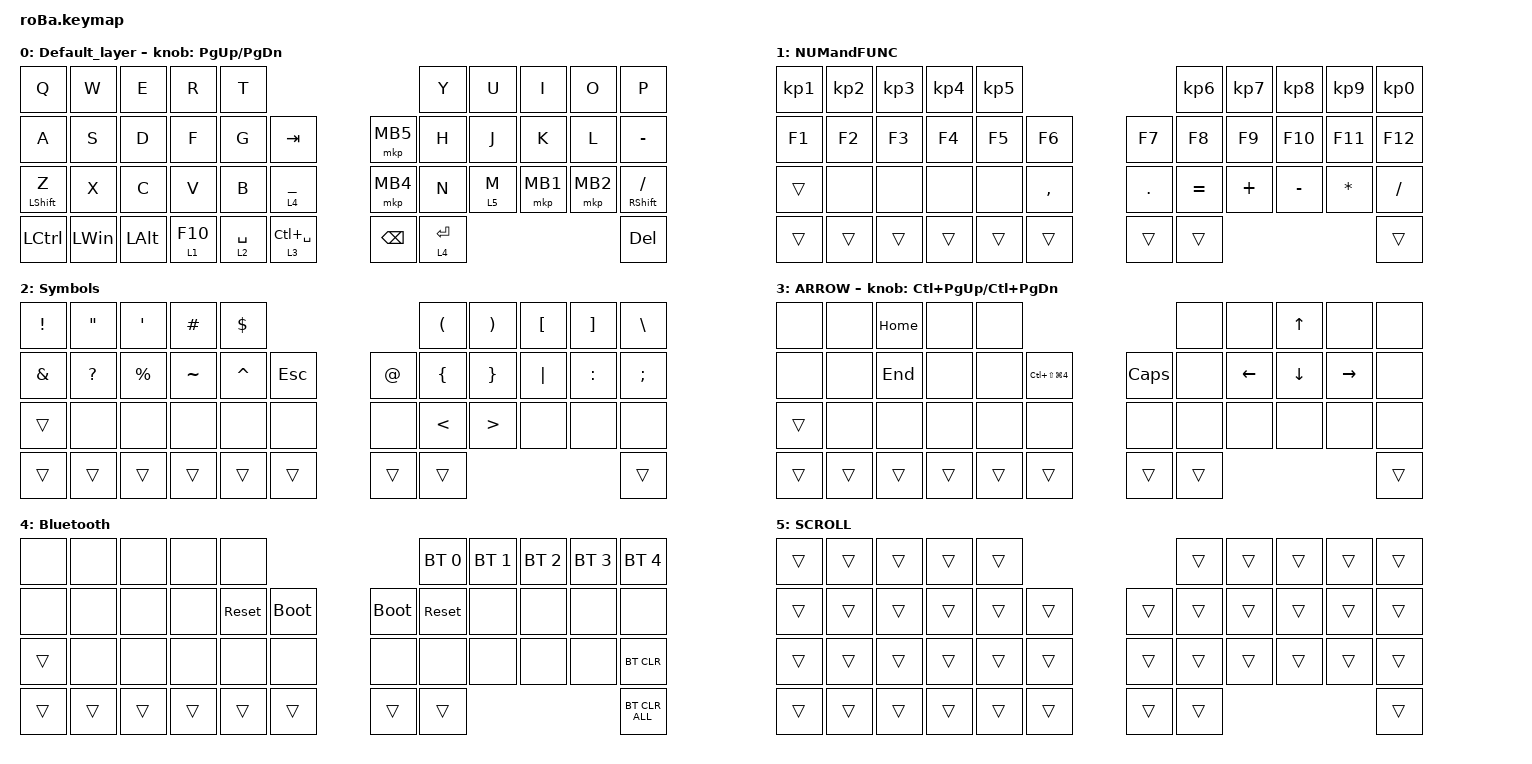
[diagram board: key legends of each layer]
#include <behaviors.dtsi>
#include <dt-bindings/zmk/bt.h>
#include <dt-bindings/zmk/keys.h>
#include <dt-bindings/zmk/pointing.h>

&mt {
    flavor = "balanced";
    quick-tap-ms = <0>;
};

/ {
    combos {
        compatible = "zmk,combos";

        tab {
            bindings = <&kp TAB>;
            key-positions = <11 12>;
        };

        shift_tab {
            bindings = <&kp LS(TAB)>;
            key-positions = <12 13>;
        };

        muhennkann {
            bindings = <&to_layer_0 INT_MUHENKAN>;
            key-positions = <11 10>;
        };

        double_quotation {
            bindings = <&kp DOUBLE_QUOTES>;
            key-positions = <20 21>;
        };

        eq {
            bindings = <&kp EQUAL>;
            key-positions = <24 25>;
        };
    };

    macros {
        to_layer_0: to_layer_0 {
            compatible = "zmk,behavior-macro-one-param";
            #binding-cells = <1>;
            bindings = <&to 0 &macro_param_1to1 &kp MACRO_PLACEHOLDER>;
            label = "TO_LAYER_0";
        };
    };

    behaviors {
        lt_to_layer_0: lt_to_layer_0 {
            compatible = "zmk,behavior-hold-tap";
            label = "LAYER_TAP_TO_0";
            bindings = <&mo>, <&to_layer_0>;

            #binding-cells = <2>;
            tapping-term-ms = <200>;
        };
    };

    keymap {
        compatible = "zmk,keymap";

        Default_layer {
            bindings = <
&kp Q         &kp W         &kp E         &kp R                 &kp T                                                       &kp Y        &kp U    &kp I     &kp O     &kp P
&kp A         &kp S         &kp D         &kp F                 &kp G        &kp TAB                         &mkp MB5       &kp H        &kp J    &kp K     &kp L     &kp MINUS
&mt LSHIFT Z  &kp X         &kp C         &kp V                 &kp B        &lt 4 UNDERSCORE                &mkp MB4       &kp N        &lt 5 M  &mkp MB1  &mkp MB2  &mt RIGHT_SHIFT SLASH
&kp LCTRL     &kp LEFT_WIN  &kp LEFT_ALT  &lt_to_layer_0 1 F10  &lt 2 SPACE  &lt_to_layer_0 3 LC(SPACE)      &kp BACKSPACE  &lt 4 ENTER                               &kp DEL
            >;

            sensor-bindings = <&inc_dec_kp PG_UP PAGE_DOWN>;
        };

        NUMandFUNC {
            bindings = <
&kp KP_NUMBER_1  &kp KP_NUMBER_2  &kp KP_NUMBER_3  &kp KP_NUMBER_4  &kp KP_NUMBER_5                             &kp KP_NUMBER_6  &kp KP_NUMBER_7  &kp KP_NUMBER_8  &kp KP_NUMBER_9  &kp KP_NUMBER_0
&kp F1           &kp F2           &kp F3           &kp F4           &kp F5           &kp F6         &kp F7      &kp F8           &kp F9           &kp F10          &kp F11          &kp F12
&trans           &none            &none            &none            &none            &kp COMMA      &kp PERIOD  &kp EQUAL        &kp PLUS         &kp MINUS        &kp ASTERISK     &kp SLASH
&trans           &trans           &trans           &trans           &trans           &trans         &trans      &trans                                                              &trans
            >;
        };

        Symbols {
            bindings = <
&kp EXCLAMATION  &kp DOUBLE_QUOTES  &kp SINGLE_QUOTE  &kp HASH   &kp DOLLAR                               &kp LEFT_PARENTHESIS  &kp RIGHT_PARENTHESIS  &kp LBKT  &kp RBKT   &kp BACKSLASH
&kp AMPERSAND    &kp QUESTION       &kp PERCENT       &kp TILDE  &kp CARET   &kp ESCAPE      &kp AT_SIGN  &kp LEFT_BRACE        &kp RIGHT_BRACE        &kp PIPE  &kp COLON  &kp SEMI
&trans           &none              &none             &none      &none       &none           &none        &kp LESS_THAN         &kp GREATER_THAN       &none     &none      &none
&trans           &trans             &trans            &trans     &trans      &trans          &trans       &trans                                                            &trans
            >;
        };

        ARROW {
            bindings = <
&none   &none   &kp HOME  &none   &none                                               &none   &none           &kp UP_ARROW    &none            &none
&none   &none   &kp END   &none   &none   &kp LC(LS(LG(NUMBER_4)))      &kp CAPSLOCK  &none   &kp LEFT_ARROW  &kp DOWN_ARROW  &kp RIGHT_ARROW  &none
&trans  &none   &none     &none   &none   &none                         &none         &none   &none           &none           &none            &none
&trans  &trans  &trans    &trans  &trans  &trans                        &trans        &trans                                                   &trans
            >;

            sensor-bindings = <&inc_dec_kp LC(PAGE_UP) LC(PAGE_DOWN)>;
        };

        Bluetooth {
            bindings = <
&none   &none   &none   &none   &none                                     &bt BT_SEL 0  &bt BT_SEL 1  &bt BT_SEL 2  &bt BT_SEL 3  &bt BT_SEL 4
&none   &none   &none   &none   &sys_reset  &bootloader      &bootloader  &sys_reset    &none         &none         &none         &none
&trans  &none   &none   &none   &none       &none            &none        &none         &none         &none         &none         &bt BT_CLR
&trans  &trans  &trans  &trans  &trans      &trans           &trans       &trans                                                  &bt BT_CLR_ALL
            >;
        };

        SCROLL {
            bindings = <
&trans  &trans  &trans  &trans  &trans                      &trans  &trans  &trans  &trans  &trans
&trans  &trans  &trans  &trans  &trans  &trans      &trans  &trans  &trans  &trans  &trans  &trans
&trans  &trans  &trans  &trans  &trans  &trans      &trans  &trans  &trans  &trans  &trans  &trans
&trans  &trans  &trans  &trans  &trans  &trans      &trans  &trans                          &trans
            >;
        };
    };
};
